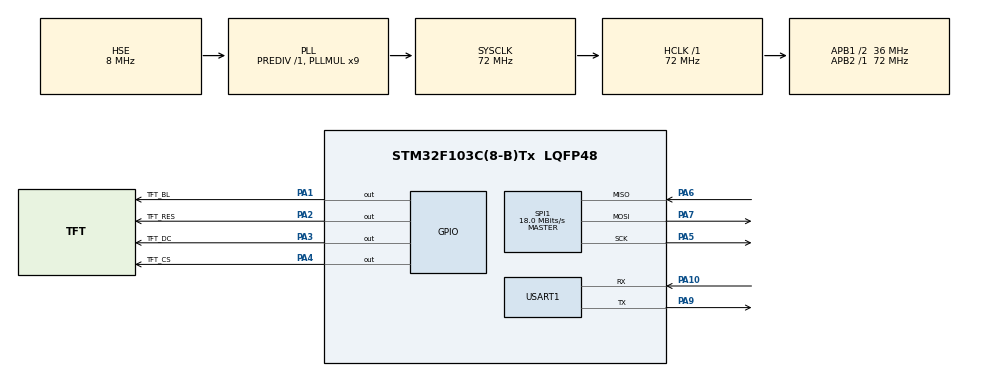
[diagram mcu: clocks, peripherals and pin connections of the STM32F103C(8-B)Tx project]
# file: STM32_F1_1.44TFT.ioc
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Dma.Request0=SPI1_RX
Dma.Request1=SPI1_TX
Dma.SPI1_RX.0.Direction=DMA_PERIPH_TO_MEMORY
Dma.SPI1_RX.0.Instance=DMA1_Channel2
Dma.SPI1_RX.0.MemDataAlignment=DMA_MDATAALIGN_BYTE
Dma.SPI1_RX.0.MemInc=DMA_MINC_ENABLE
Dma.SPI1_RX.0.Mode=DMA_NORMAL
Dma.SPI1_RX.0.PeriphDataAlignment=DMA_PDATAALIGN_BYTE
Dma.SPI1_RX.0.PeriphInc=DMA_PINC_DISABLE
Dma.SPI1_RX.0.Priority=DMA_PRIORITY_LOW
Dma.SPI1_TX.1.Direction=DMA_MEMORY_TO_PERIPH
Dma.SPI1_TX.1.Instance=DMA1_Channel3
Dma.SPI1_TX.1.MemDataAlignment=DMA_MDATAALIGN_BYTE
Dma.SPI1_TX.1.MemInc=DMA_MINC_ENABLE
Dma.SPI1_TX.1.Mode=DMA_NORMAL
Dma.SPI1_TX.1.PeriphDataAlignment=DMA_PDATAALIGN_BYTE
Dma.SPI1_TX.1.PeriphInc=DMA_PINC_DISABLE
Dma.SPI1_TX.1.Priority=DMA_PRIORITY_LOW
Mcu.Family=STM32F1
Mcu.Name=STM32F103C(8-B)Tx
Mcu.Package=LQFP48
NVIC.DMA1_Channel2_IRQn=true\:0\:0\:false\:false\:true\:false\:true\:true
NVIC.DMA1_Channel3_IRQn=true\:0\:0\:false\:false\:true\:false\:true\:true
NVIC.PriorityGroup=NVIC_PRIORITYGROUP_4
PA1.GPIO_Label=TFT_BL
PA1.GPIO_PuPd=GPIO_PULLUP
PA1.GPIO_Speed=GPIO_SPEED_FREQ_HIGH
PA1.PinState=GPIO_PIN_SET
PA1.Signal=GPIO_Output
PA10.Mode=Asynchronous
PA10.Signal=USART1_RX
PA13.Mode=Serial_Wire
PA13.Signal=SYS_JTMS-SWDIO
PA14.Mode=Serial_Wire
PA14.Signal=SYS_JTCK-SWCLK
PA2.GPIO_Label=TFT_RES
PA2.GPIO_PuPd=GPIO_PULLUP
PA2.GPIO_Speed=GPIO_SPEED_FREQ_HIGH
PA2.PinState=GPIO_PIN_SET
PA2.Signal=GPIO_Output
PA3.GPIO_Label=TFT_DC
PA3.GPIO_ModeDefaultOutputPP=GPIO_MODE_OUTPUT_PP
PA3.GPIO_PuPd=GPIO_PULLUP
PA3.GPIO_Speed=GPIO_SPEED_FREQ_HIGH
PA3.PinState=GPIO_PIN_SET
PA3.Signal=GPIO_Output
PA4.GPIO_Label=TFT_CS
PA4.GPIO_ModeDefaultOutputPP=GPIO_MODE_OUTPUT_PP
PA4.GPIO_PuPd=GPIO_PULLUP
PA4.GPIO_Speed=GPIO_SPEED_FREQ_HIGH
PA4.PinState=GPIO_PIN_SET
PA4.Signal=GPIO_Output
PA5.Mode=Full_Duplex_Master
PA5.Signal=SPI1_SCK
PA6.Mode=Full_Duplex_Master
PA6.Signal=SPI1_MISO
PA7.Mode=Full_Duplex_Master
PA7.Signal=SPI1_MOSI
PA9.Mode=Asynchronous
PA9.Signal=USART1_TX
PD0-OSC_IN.Mode=HSE-External-Oscillator
PD0-OSC_IN.Signal=RCC_OSC_IN
PD1-OSC_OUT.Mode=HSE-External-Oscillator
PD1-OSC_OUT.Signal=RCC_OSC_OUT
ProjectManager.HeapSize=0x200
ProjectManager.StackSize=0x400
ProjectManager.TargetToolchain=MDK-ARM V5.32
RCC.AHBFreq_Value=72000000
RCC.APB1CLKDivider=RCC_HCLK_DIV2
RCC.APB1Freq_Value=36000000
RCC.APB1TimFreq_Value=72000000
RCC.APB2Freq_Value=72000000
RCC.APB2TimFreq_Value=72000000
RCC.HCLKFreq_Value=72000000
RCC.PLLMUL=RCC_PLL_MUL9
RCC.PLLSourceVirtual=RCC_PLLSOURCE_HSE
RCC.SYSCLKFreq_VALUE=72000000
RCC.SYSCLKSource=RCC_SYSCLKSOURCE_PLLCLK
RCC.USBFreq_Value=72000000
SPI1.BaudRatePrescaler=SPI_BAUDRATEPRESCALER_4
SPI1.CalculateBaudRate=18.0 MBits/s
SPI1.Direction=SPI_DIRECTION_2LINES
SPI1.Mode=SPI_MODE_MASTER
SPI1.VirtualType=VM_MASTER
USART1.VirtualMode=VM_ASYNC
board=custom

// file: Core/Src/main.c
/* USER CODE BEGIN Header */
/**
  ******************************************************************************
  * @file           : main.c
  * @brief          : Main program body
  ******************************************************************************
  * @attention
  *
  * <h2><center>&copy; Copyright (c) 2022 STMicroelectronics.
  * All rights reserved.</center></h2>
  *
  * This software component is licensed by ST under BSD 3-Clause license,
  * the "License"; You may not use this file except in compliance with the
  * License. You may obtain a copy of the License at:
  *                        opensource.org/licenses/BSD-3-Clause
  *
  ******************************************************************************
  */
/* USER CODE END Header */
#include "main.h"
#include "dma.h"
#include "spi.h"
#include "usart.h"
#include "gpio.h"

/* USER CODE BEGIN Includes */
#include "stdio.h"
#include "lcd_init.h"
#include "lcd.h"
#include "pic.h"
#include "oledfont.h"

/* USER CODE END Includes */

/* USER CODE BEGIN PV */

   float t=0;
//	 int ChooseShow = 1;

/* USER CODE END PV */

void SystemClock_Config(void);
/* USER CODE BEGIN PFP */
int fputc(int ch, FILE *f);
/* USER CODE END PFP */

/* USER CODE BEGIN 0 */

//LCD��ʾ����
void LCD_Show(){

	int ChooseShow = 9;//ѡ����ʾ����

	if(ChooseShow == 1){
		LCD_ShowChinese(0,0,"����",RED,WHITE,24,0);
		LCD_ShowString(24,30,"LCD_W:",RED,WHITE,16,0);
		LCD_ShowIntNum(72,30,LCD_W,3,RED,WHITE,16);
		LCD_ShowString(24,50,"LCD_H:",RED,WHITE,16,0);
		LCD_ShowIntNum(72,50,LCD_H,3,RED,WHITE,16);
		LCD_ShowFloatNum1(20,80,t,4,RED,WHITE,16);
		t+=0.11;
    LCD_ShowPicture(80,70,40,40,gImage_1);
	}

	if(ChooseShow == 2){
		LCD_Fill(0,0,LCD_W,LCD_H,RED);
		LCD_Fill(0,0,LCD_W,LCD_H,GREEN);
		LCD_Fill(0,0,LCD_W,LCD_H,BLUE);
	}//��ɫˢ��

	if(ChooseShow == 3){
		LCD_Fill_DMA(0,0,LCD_W,LCD_H,RED);
		LCD_Fill_DMA(0,0,LCD_W,LCD_H,GREEN);
		LCD_Fill_DMA(0,0,LCD_W,LCD_H,BLUE);
	}//��ɫˢ������DMA

	if(ChooseShow == 4){
		LCD_Fill(0,0,LCD_W,LCD_H,WHITE);
		LCD_ShowPicture(0,0,128,128,gImage_2);
	}//��ɫˢ��

	if(ChooseShow == 5){
//		LCD_Fill_DMA(0,0,LCD_W,LCD_H,WHITE);
		LCD_ShowPicture_DMA(0,0,128,128,gImage_2);
	}

	if(ChooseShow == 6){
		LCD_Fill_DMA_2(0,0,LCD_W,LCD_H,WHITE);
		HAL_Delay(1000);
		DispPic(0,0,128,128,gImage_2);
		HAL_Delay(1000);
	}	//ͼƬ��-������

	if(ChooseShow == 7){
		LCD_Fill_DMA_2(0,0,LCD_W,LCD_H,RED);
		HAL_Delay(0);
		LCD_Fill_DMA_2(0,0,LCD_W,LCD_H,GREEN);
		HAL_Delay(0);
		LCD_Fill_DMA_2(0,0,LCD_W,LCD_H,BLUE);
		HAL_Delay(0);
	}	//��ɫˢ������DMA

	if(ChooseShow == 8){

//		DispPic(28,0,101,8,taikongren_1);
		DispPic(32,48,63,32,taikongren_1);
		DispPic(32,48,63,32,taikongren_2);
		DispPic(32,48,63,32,taikongren_3);
		DispPic(32,48,63,32,taikongren_4);
		DispPic(32,48,63,32,taikongren_5);
		DispPic(32,48,63,32,taikongren_6);
		DispPic(32,48,63,32,taikongren_7);
		DispPic(32,48,63,32,taikongren_8);
		DispPic(32,48,63,32,taikongren_9);
		DispPic(32,48,63,32,taikongren_10);
//		HAL_Delay(1000);
	}

		if(ChooseShow == 9){

		LCD_ShowPicture_x2(32,48,63,32,taikongren_1);
		LCD_ShowPicture_x2(32,48,63,32,taikongren_2);
		LCD_ShowPicture_x2(32,48,63,32,taikongren_3);
		LCD_ShowPicture_x2(32,48,63,32,taikongren_4);
		LCD_ShowPicture_x2(32,48,63,32,taikongren_5);
		LCD_ShowPicture_x2(32,48,63,32,taikongren_6);
		LCD_ShowPicture_x2(32,48,63,32,taikongren_7);
		LCD_ShowPicture_x2(32,48,63,32,taikongren_8);
		LCD_ShowPicture_x2(32,48,63,32,taikongren_9);
		LCD_ShowPicture_x2(32,48,63,32,taikongren_10);
//		HAL_Delay(1000);
	}//ԭͼ�����Ŵ�����

	if(ChooseShow == 10){

		u16 zanting=100;
		LCD_ShowPicture(32,48,63,32,taikongren_1);
		HAL_Delay(zanting);
		LCD_ShowPicture(32,48,63,32,taikongren_2);
		HAL_Delay(zanting);
		LCD_ShowPicture(32,48,63,32,taikongren_3);
		HAL_Delay(zanting);
		LCD_ShowPicture(32,48,63,32,taikongren_4);
		HAL_Delay(zanting);
		LCD_ShowPicture(32,48,63,32,taikongren_5);
		HAL_Delay(zanting);
		LCD_ShowPicture(32,48,63,32,taikongren_6);
		HAL_Delay(zanting);
		LCD_ShowPicture(32,48,63,32,taikongren_7);
		HAL_Delay(zanting);
		LCD_ShowPicture(32,48,63,32,taikongren_8);
		HAL_Delay(zanting);
		LCD_ShowPicture(32,48,63,32,taikongren_9);
		HAL_Delay(zanting);
		LCD_ShowPicture(32,48,63,32,taikongren_10);
		HAL_Delay(zanting);
//		HAL_Delay(1000);
	}//ԭʼͼƬ

}

/* USER CODE END 0 */

int main(void)
{

  /* MCU Configuration--------------------------------------------------------*/

  /* Reset of all peripherals, Initializes the Flash interface and the Systick. */
  HAL_Init();

  /* Configure the system clock */
  SystemClock_Config();

  /* Initialize all configured peripherals */
  MX_GPIO_Init();
  MX_DMA_Init();
  MX_SPI1_Init();
  MX_USART1_UART_Init();
  /* USER CODE BEGIN 2 */

  LCD_Init();//LCD��ʼ��
	LCD_Fill(0,0,LCD_W,LCD_H,WHITE);

//    LCD_Show();
  /* USER CODE END 2 */

  /* Infinite loop */
  while (1)
  {

    /* USER CODE BEGIN 3 */

			printf("start");

		LCD_Show();

//		for(int num;num < 10000;num++){ChooseShow = 1;LCD_Show();ChooseShow = 1;}

//		HAL_Delay(10);

  }
  /* USER CODE END 3 */
}

void SystemClock_Config(void)
{
  RCC_OscInitTypeDef RCC_OscInitStruct = {0};
  RCC_ClkInitTypeDef RCC_ClkInitStruct = {0};

  /** Initializes the RCC Oscillators according to the specified parameters
  * in the RCC_OscInitTypeDef structure.
  */
  RCC_OscInitStruct.OscillatorType = RCC_OSCILLATORTYPE_HSE;
  RCC_OscInitStruct.HSEState = RCC_HSE_ON;
  RCC_OscInitStruct.HSEPredivValue = RCC_HSE_PREDIV_DIV1;
  RCC_OscInitStruct.HSIState = RCC_HSI_ON;
  RCC_OscInitStruct.PLL.PLLState = RCC_PLL_ON;
  RCC_OscInitStruct.PLL.PLLSource = RCC_PLLSOURCE_HSE;
  RCC_OscInitStruct.PLL.PLLMUL = RCC_PLL_MUL9;
  if (HAL_RCC_OscConfig(&RCC_OscInitStruct) != HAL_OK)
  {
    Error_Handler();
  }

  /** Initializes the CPU, AHB and APB buses clocks
  */
  RCC_ClkInitStruct.ClockType = RCC_CLOCKTYPE_HCLK|RCC_CLOCKTYPE_SYSCLK
                              |RCC_CLOCKTYPE_PCLK1|RCC_CLOCKTYPE_PCLK2;
  RCC_ClkInitStruct.SYSCLKSource = RCC_SYSCLKSOURCE_PLLCLK;
  RCC_ClkInitStruct.AHBCLKDivider = RCC_SYSCLK_DIV1;
  RCC_ClkInitStruct.APB1CLKDivider = RCC_HCLK_DIV2;
  RCC_ClkInitStruct.APB2CLKDivider = RCC_HCLK_DIV1;

  if (HAL_RCC_ClockConfig(&RCC_ClkInitStruct, FLASH_LATENCY_2) != HAL_OK)
  {
    Error_Handler();
  }
}

/* USER CODE BEGIN 4 */

int fputc(int ch, FILE *f)
{
 uint8_t temp[1] = {ch};
 HAL_UART_Transmit(&huart1, temp, 1, 2);
 return ch;
}

/* USER CODE END 4 */

void Error_Handler(void)
{
  __disable_irq();
  while (1)
  {
  }
}
